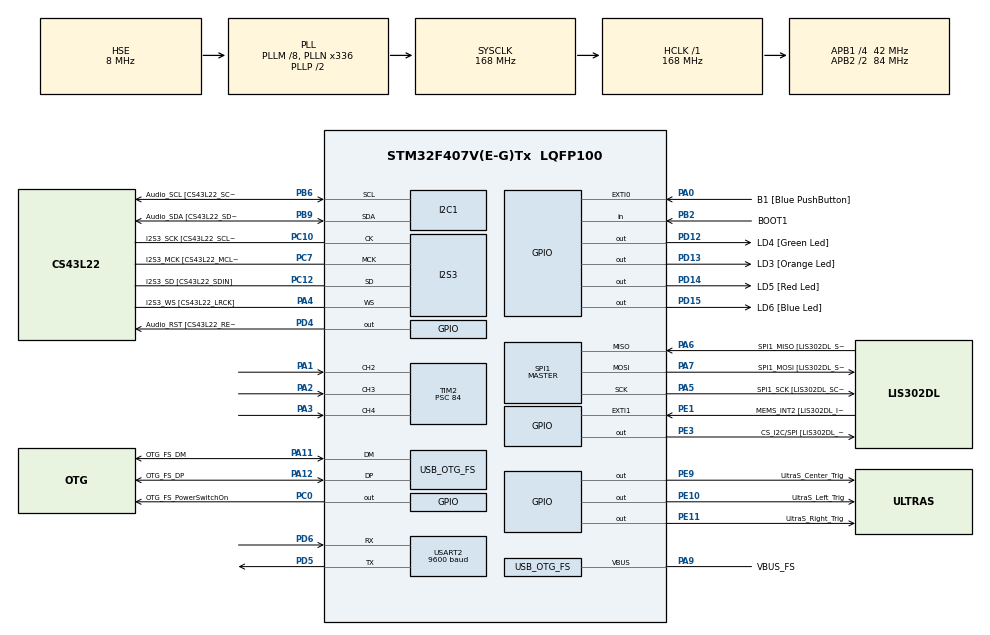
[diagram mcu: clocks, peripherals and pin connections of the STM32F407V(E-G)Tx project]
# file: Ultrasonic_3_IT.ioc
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I2S3.AudioFreq-Half_Duplex_Master=I2S_AUDIOFREQ_96K
I2S3.ErrorAudioFreq=-2.34 %
I2S3.ErrorAudioFreq-Half_Duplex_Master=0.8 %
I2S3.FullDuplexMode=I2S_FULLDUPLEXMODE_DISABLE
I2S3.Instance=SPI$Index
I2S3.RealAudioFreq=93.75 KHz
I2S3.RealAudioFreq-Half_Duplex_Master=96.774 KHz
I2S3.VirtualMode=I2S_MODE_MASTER
Mcu.Family=STM32F4
Mcu.Name=STM32F407V(E-G)Tx
Mcu.Package=LQFP100
NVIC.OTG_FS_IRQn=true\:0\:0\:false\:false\:true\:true\:true\:true
NVIC.PriorityGroup=NVIC_PRIORITYGROUP_0
NVIC.TIM2_IRQn=true\:0\:0\:false\:false\:true\:true\:true\:true
NVIC.USART2_IRQn=true\:0\:0\:false\:false\:true\:true\:true\:true
PA0-WKUP.GPIO_Label=B1 [Blue PushButton]
PA0-WKUP.GPIO_ModeDefaultEXTI=GPIO_MODE_EVT_RISING
PA0-WKUP.GPIO_PuPd=GPIO_NOPULL
PA0-WKUP.Signal=GPXTI0
PA1.Signal=S_TIM2_CH2
PA10.GPIO_Label=OTG_FS_ID
PA10.GPIO_Mode=GPIO_MODE_AF_PP
PA10.GPIO_PuPd=GPIO_NOPULL
PA10.GPIO_Speed=GPIO_SPEED_FREQ_LOW
PA10.Signal=USB_OTG_FS_ID
PA11.GPIO_Label=OTG_FS_DM
PA11.GPIO_Mode=GPIO_MODE_AF_PP
PA11.GPIO_PuPd=GPIO_NOPULL
PA11.GPIO_Speed=GPIO_SPEED_FREQ_LOW
PA11.Mode=Host_Only
PA11.Signal=USB_OTG_FS_DM
PA12.GPIO_Label=OTG_FS_DP
PA12.GPIO_Mode=GPIO_MODE_AF_PP
PA12.GPIO_PuPd=GPIO_NOPULL
PA12.GPIO_Speed=GPIO_SPEED_FREQ_LOW
PA12.Mode=Host_Only
PA12.Signal=USB_OTG_FS_DP
PA13.GPIO_Label=SWDIO
PA13.Mode=Serial_Wire
PA13.Signal=SYS_JTMS-SWDIO
PA14.GPIO_Label=SWCLK
PA14.Mode=Serial_Wire
PA14.Signal=SYS_JTCK-SWCLK
PA2.Signal=S_TIM2_CH3
PA3.Signal=S_TIM2_CH4
PA4.GPIO_Label=I2S3_WS [CS43L22_LRCK]
PA4.GPIO_Mode=GPIO_MODE_AF_PP
PA4.GPIO_PuPd=GPIO_NOPULL
PA4.GPIO_Speed=GPIO_SPEED_FREQ_LOW
PA4.Mode=Half_Duplex_Master
PA4.Signal=I2S3_WS
PA5.GPIO_Label=SPI1_SCK [LIS302DL_SCL/SPC]
PA5.GPIO_Mode=GPIO_MODE_AF_PP
PA5.GPIO_PuPd=GPIO_NOPULL
PA5.GPIO_Speed=GPIO_SPEED_FREQ_LOW
PA5.Mode=Full_Duplex_Master
PA5.Signal=SPI1_SCK
PA6.GPIO_Label=SPI1_MISO [LIS302DL_SDO]
PA6.GPIO_Mode=GPIO_MODE_AF_PP
PA6.GPIO_PuPd=GPIO_NOPULL
PA6.GPIO_Speed=GPIO_SPEED_FREQ_LOW
PA6.Mode=Full_Duplex_Master
PA6.Signal=SPI1_MISO
PA7.GPIO_Label=SPI1_MOSI [LIS302DL_SDA/SDI/SDO]
PA7.GPIO_Mode=GPIO_MODE_AF_PP
PA7.GPIO_PuPd=GPIO_NOPULL
PA7.GPIO_Speed=GPIO_SPEED_FREQ_LOW
PA7.Mode=Full_Duplex_Master
PA7.Signal=SPI1_MOSI
PA9.GPIO_Label=VBUS_FS
PA9.GPIO_Mode=GPIO_MODE_INPUT
PA9.GPIO_PuPd=GPIO_NOPULL
PA9.Mode=Activate_VBUS
PA9.Signal=USB_OTG_FS_VBUS
PB10.GPIO_Label=CLK_IN [MP45DT02_CLK]
PB10.GPIO_Mode=GPIO_MODE_AF_PP
PB10.GPIO_PuPd=GPIO_NOPULL
PB10.GPIO_Speed=GPIO_SPEED_FREQ_LOW
PB10.Signal=I2S2_CK
PB2.GPIO_Label=BOOT1
PB2.GPIO_Mode=GPIO_MODE_INPUT
PB2.GPIO_PuPd=GPIO_NOPULL
PB2.Signal=GPIO_Input
PB3.GPIO_Label=SWO
PB3.Signal=SYS_JTDO-SWO
PB6.GPIO_Label=Audio_SCL [CS43L22_SCL]
PB6.GPIO_Mode=GPIO_MODE_AF_OD
PB6.GPIO_Pu=GPIO_PULLUP
PB6.GPIO_PuPd=GPIO_NOPULL
PB6.GPIO_Speed=GPIO_SPEED_FREQ_LOW
PB6.Mode=I2C
PB6.Signal=I2C1_SCL
PB9.GPIO_Label=Audio_SDA [CS43L22_SDA]
PB9.GPIO_Mode=GPIO_MODE_AF_OD
PB9.GPIO_Pu=GPIO_PULLUP
PB9.GPIO_PuPd=GPIO_NOPULL
PB9.GPIO_Speed=GPIO_SPEED_FREQ_LOW
PB9.Mode=I2C
PB9.Signal=I2C1_SDA
PC0.GPIO_Label=OTG_FS_PowerSwitchOn
PC0.GPIO_PuPd=GPIO_NOPULL
PC0.GPIO_Speed=GPIO_SPEED_FREQ_LOW
PC0.PinState=GPIO_PIN_SET
PC0.Signal=GPIO_Output
PC10.GPIO_Label=I2S3_SCK [CS43L22_SCLK]
PC10.GPIO_Mode=GPIO_MODE_AF_PP
PC10.GPIO_PuPd=GPIO_NOPULL
PC10.GPIO_Speed=GPIO_SPEED_FREQ_LOW
PC10.Mode=Half_Duplex_Master
PC10.Signal=I2S3_CK
PC12.GPIO_Label=I2S3_SD [CS43L22_SDIN]
PC12.GPIO_Mode=GPIO_MODE_AF_PP
PC12.GPIO_PuPd=GPIO_NOPULL
PC12.GPIO_Speed=GPIO_SPEED_FREQ_LOW
PC12.Mode=Half_Duplex_Master
PC12.Signal=I2S3_SD
PC14-OSC32_IN.GPIO_Label=PC14-OSC32_IN
PC14-OSC32_IN.Mode=LSE-External-Oscillator
PC14-OSC32_IN.Signal=RCC_OSC32_IN
PC15-OSC32_OUT.GPIO_Label=PC15-OSC32_OUT
PC15-OSC32_OUT.Mode=LSE-External-Oscillator
PC15-OSC32_OUT.Signal=RCC_OSC32_OUT
PC3.GPIO_Label=PDM_OUT [MP45DT02_DOUT]
PC3.GPIO_Mode=GPIO_MODE_AF_PP
PC3.GPIO_PuPd=GPIO_NOPULL
PC3.GPIO_Speed=GPIO_SPEED_FREQ_LOW
PC3.Signal=I2S2_SD
PC7.GPIO_Label=I2S3_MCK [CS43L22_MCLK]
PC7.GPIO_Mode=GPIO_MODE_AF_PP
PC7.GPIO_PuPd=GPIO_NOPULL
PC7.GPIO_Speed=GPIO_SPEED_FREQ_LOW
PC7.Mode=Master_Clock_Activated
PC7.Signal=I2S3_MCK
PD12.GPIO_Label=LD4 [Green Led]
PD12.GPIO_PuPd=GPIO_NOPULL
PD12.GPIO_Speed=GPIO_SPEED_FREQ_LOW
PD12.Signal=GPIO_Output
PD13.GPIO_Label=LD3 [Orange Led]
PD13.GPIO_PuPd=GPIO_NOPULL
PD13.GPIO_Speed=GPIO_SPEED_FREQ_LOW
PD13.Signal=GPIO_Output
PD14.GPIO_Label=LD5 [Red Led]
PD14.GPIO_PuPd=GPIO_NOPULL
PD14.GPIO_Speed=GPIO_SPEED_FREQ_LOW
PD14.Signal=GPIO_Output
PD15.GPIO_Label=LD6 [Blue Led]
PD15.GPIO_PuPd=GPIO_NOPULL
PD15.GPIO_Speed=GPIO_SPEED_FREQ_LOW
PD15.Signal=GPIO_Output
PD4.GPIO_Label=Audio_RST [CS43L22_RESET]
PD4.GPIO_PuPd=GPIO_NOPULL
PD4.GPIO_Speed=GPIO_SPEED_FREQ_LOW
PD4.Signal=GPIO_Output
PD5.Mode=Asynchronous
PD5.Signal=USART2_TX
PD6.Mode=Asynchronous
PD6.Signal=USART2_RX
PE1.GPIO_Label=MEMS_INT2 [LIS302DL_INT2]
PE1.GPIO_ModeDefaultEXTI=GPIO_MODE_EVT_RISING
PE1.GPIO_PuPd=GPIO_NOPULL
PE1.Signal=GPXTI1
PE10.GPIO_Label=UltraS_Left_Trig
PE10.Signal=GPIO_Output
PE11.GPIO_Label=UltraS_Right_Trig
PE11.Signal=GPIO_Output
PE3.GPIO_Label=CS_I2C/SPI [LIS302DL_CS_I2C/SPI]
PE3.GPIO_PuPd=GPIO_NOPULL
PE3.GPIO_Speed=GPIO_SPEED_FREQ_LOW
PE3.Signal=GPIO_Output
PE9.GPIO_Label=UltraS_Center_Trig
PE9.Signal=GPIO_Output
PH0-OSC_IN.GPIO_Label=PH0-OSC_IN
PH0-OSC_IN.Mode=HSE-External-Oscillator
PH0-OSC_IN.Signal=RCC_OSC_IN
PH1-OSC_OUT.GPIO_Label=PH1-OSC_OUT
PH1-OSC_OUT.Mode=HSE-External-Oscillator
PH1-OSC_OUT.Signal=RCC_OSC_OUT
ProjectManager.HeapSize=0x200
ProjectManager.StackSize=0x400
ProjectManager.TargetToolchain=CMake
RCC.48MHZClocksFreq_Value=48000000
RCC.AHBFreq_Value=168000000
RCC.APB1CLKDivider=RCC_HCLK_DIV4
RCC.APB1Freq_Value=42000000
RCC.APB1TimFreq_Value=84000000
RCC.APB2CLKDivider=RCC_HCLK_DIV2
RCC.APB2Freq_Value=84000000
RCC.APB2TimFreq_Value=168000000
RCC.CortexFreq_Value=168000000
RCC.HCLKFreq_Value=168000000
RCC.HSE_VALUE=8000000
RCC.HSI_VALUE=16000000
RCC.PLLM=8
RCC.PLLN=336
RCC.PLLQ=7
RCC.SYSCLKFreq_VALUE=168000000
RCC.SYSCLKSource=RCC_SYSCLKSOURCE_PLLCLK
RCC.VCOOutputFreq_Value=336000000
SH.S_TIM2_CH2.0=TIM2_CH2,Input_Capture2_from_TI2
SH.S_TIM2_CH3.0=TIM2_CH3,Input_Capture3_from_TI3
SH.S_TIM2_CH4.0=TIM2_CH4,Input_Capture4_from_TI4
SPI1.BaudRatePrescaler-Full_Duplex_Master=SPI_BAUDRATEPRESCALER_2
SPI1.CalculateBaudRate-Full_Duplex_Master=42.0 MBits/s
SPI1.Direction=SPI_DIRECTION_2LINES
SPI1.Mode=SPI_MODE_MASTER
SPI1.Mode-Full_Duplex_Master=SPI_MODE_MASTER
SPI1.VirtualType=VM_MASTER
TIM2.Channel-Input_Capture2_from_TI2=TIM_CHANNEL_2
TIM2.Channel-Input_Capture3_from_TI3=TIM_CHANNEL_3
TIM2.Channel-Input_Capture4_from_TI4=TIM_CHANNEL_4
TIM2.Prescaler=84
USART2.BaudRate=9600
USART2.VirtualMode=VM_ASYNC
USB_HOST.BSP.number=1
USB_HOST.USBH_HandleTypeDef-CDC_FS=hUsbHostFS
USB_HOST.VirtualModeFS=Cdc
USB_HOST0.BSP.STBoard=false
USB_HOST0.BSP.api=Unknown
USB_HOST0.BSP.instance=PC0
USB_HOST0.BSP.ip=GPIO
USB_HOST0.BSP.mode=Output
USB_HOST0.BSP.name=Drive_VBUS_FS
USB_HOST0.BSP.solution=PC0
USB_OTG_FS.VirtualMode=Host_Only
USB_OTG_FS.phy_itface=HCD_PHY_EMBEDDED
VP_TIM2_VS_ClockSourceINT.Mode=Internal
VP_USB_HOST_VS_USB_HOST_CDC_FS.Mode=CDC_FS
board=STM32F407G-DISC1

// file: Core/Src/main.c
/* USER CODE BEGIN Header */
/**
  ******************************************************************************
  * @file           : main.c
  * @brief          : Main program body
  ******************************************************************************
  * @attention
  *
  * Copyright (c) 2026 STMicroelectronics.
  * All rights reserved.
  *
  * This software is licensed under terms that can be found in the LICENSE file
  * in the root directory of this software component.
  * If no LICENSE file comes with this software, it is provided AS-IS.
  *
  ******************************************************************************
  */
/* USER CODE END Header */
#include "main.h"
#include "usb_host.h"

/* USER CODE BEGIN Includes */
#include "../Inc/HCSR04.h"
/* USER CODE END Includes */

I2C_HandleTypeDef hi2c1;

I2S_HandleTypeDef hi2s3;

SPI_HandleTypeDef hspi1;

TIM_HandleTypeDef htim2;

UART_HandleTypeDef huart2;

/* USER CODE BEGIN PV */
uint8_t rxData;
uint8_t stopSignal;

// typedef enum ultrasonic_sensor_direction {
//   CENTER = 0,
//   LEFT = 1,
//   RIGHT = 2
// }ultrasonicDir_t;
//
// typedef struct {
//   uint32_t IC_Val1;
//   uint32_t IC_Val2;
//   uint32_t Difference; // (cm)
//   uint8_t Is_First_Captured;
//   float Distance; // (cm)
// } HCSR04_t;
//
// HCSR04_t sensors[3];
/* USER CODE END PV */

void SystemClock_Config(void);
static void MX_GPIO_Init(void);
static void MX_I2C1_Init(void);
static void MX_I2S3_Init(void);
static void MX_SPI1_Init(void);
static void MX_TIM2_Init(void);
static void MX_USART2_UART_Init(void);
void MX_USB_HOST_Process(void);

/* USER CODE BEGIN 0 */
void HAL_TIM_IC_CaptureCallback(TIM_HandleTypeDef *htim)
{
  HCSR04_ProcessEcho(htim);
}
/* USER CODE END 0 */

int main(void)
{

  /* MCU Configuration--------------------------------------------------------*/

  /* Reset of all peripherals, Initializes the Flash interface and the Systick. */
  HAL_Init();

  /* Configure the system clock */
  SystemClock_Config();

  /* Initialize all configured peripherals */
  MX_GPIO_Init();
  MX_I2C1_Init();
  MX_I2S3_Init();
  MX_SPI1_Init();
  MX_TIM2_Init();
  MX_USB_HOST_Init();
  MX_USART2_UART_Init();
  /* USER CODE BEGIN 2 */
  HAL_UART_Receive_IT(&huart2,&rxData,1); // Enabling interrupt receive

  HAL_TIM_IC_Start_IT(&htim2, TIM_CHANNEL_2);
  HAL_TIM_IC_Start_IT(&htim2, TIM_CHANNEL_3);
  HAL_TIM_IC_Start_IT(&htim2, TIM_CHANNEL_4);
  DWT_Init();
  /* USER CODE END 2 */

  /* Infinite loop */
  /* USER CODE BEGIN WHILE */
  ultrasonicDir_t currDir;
  while (1)
  {
    Ultrasonic_Update();

    if (!stopSignal)
    {
      HAL_GPIO_WritePin(LD6_GPIO_Port, LD6_Pin, GPIO_PIN_RESET);

      if (HCSR04_GetDistance(CENTER) < 10)
        HAL_GPIO_WritePin(LD4_GPIO_Port, LD4_Pin, GPIO_PIN_SET);
      else
        HAL_GPIO_WritePin(LD4_GPIO_Port, LD4_Pin, GPIO_PIN_RESET);

      if (HCSR04_GetDistance(LEFT) < 10)
        HAL_GPIO_WritePin(LD3_GPIO_Port, LD3_Pin, GPIO_PIN_SET);
      else
        HAL_GPIO_WritePin(LD3_GPIO_Port, LD3_Pin, GPIO_PIN_RESET);

      if (HCSR04_GetDistance(RIGHT) < 10)
        HAL_GPIO_WritePin(LD5_GPIO_Port, LD5_Pin, GPIO_PIN_SET);
      else
        HAL_GPIO_WritePin(LD5_GPIO_Port, LD5_Pin, GPIO_PIN_RESET);
    }
    else
    {
      HAL_GPIO_WritePin(LD6_GPIO_Port, LD6_Pin, GPIO_PIN_SET);
    }
    /* USER CODE END WHILE */
    MX_USB_HOST_Process();

  }
}

void SystemClock_Config(void)
{
  RCC_OscInitTypeDef RCC_OscInitStruct = {0};
  RCC_ClkInitTypeDef RCC_ClkInitStruct = {0};

  /** Configure the main internal regulator output voltage
  */
  __HAL_RCC_PWR_CLK_ENABLE();
  __HAL_PWR_VOLTAGESCALING_CONFIG(PWR_REGULATOR_VOLTAGE_SCALE1);

  /** Initializes the RCC Oscillators according to the specified parameters
  * in the RCC_OscInitTypeDef structure.
  */
  RCC_OscInitStruct.OscillatorType = RCC_OSCILLATORTYPE_HSE;
  RCC_OscInitStruct.HSEState = RCC_HSE_ON;
  RCC_OscInitStruct.PLL.PLLState = RCC_PLL_ON;
  RCC_OscInitStruct.PLL.PLLSource = RCC_PLLSOURCE_HSE;
  RCC_OscInitStruct.PLL.PLLM = 8;
  RCC_OscInitStruct.PLL.PLLN = 336;
  RCC_OscInitStruct.PLL.PLLP = RCC_PLLP_DIV2;
  RCC_OscInitStruct.PLL.PLLQ = 7;
  if (HAL_RCC_OscConfig(&RCC_OscInitStruct) != HAL_OK)
  {
    Error_Handler();
  }

  /** Initializes the CPU, AHB and APB buses clocks
  */
  RCC_ClkInitStruct.ClockType = RCC_CLOCKTYPE_HCLK|RCC_CLOCKTYPE_SYSCLK
                              |RCC_CLOCKTYPE_PCLK1|RCC_CLOCKTYPE_PCLK2;
  RCC_ClkInitStruct.SYSCLKSource = RCC_SYSCLKSOURCE_PLLCLK;
  RCC_ClkInitStruct.AHBCLKDivider = RCC_SYSCLK_DIV1;
  RCC_ClkInitStruct.APB1CLKDivider = RCC_HCLK_DIV4;
  RCC_ClkInitStruct.APB2CLKDivider = RCC_HCLK_DIV2;

  if (HAL_RCC_ClockConfig(&RCC_ClkInitStruct, FLASH_LATENCY_5) != HAL_OK)
  {
    Error_Handler();
  }
}

static void MX_I2C1_Init(void)
{

  hi2c1.Instance = I2C1;
  hi2c1.Init.ClockSpeed = 100000;
  hi2c1.Init.DutyCycle = I2C_DUTYCYCLE_2;
  hi2c1.Init.OwnAddress1 = 0;
  hi2c1.Init.AddressingMode = I2C_ADDRESSINGMODE_7BIT;
  hi2c1.Init.DualAddressMode = I2C_DUALADDRESS_DISABLE;
  hi2c1.Init.OwnAddress2 = 0;
  hi2c1.Init.GeneralCallMode = I2C_GENERALCALL_DISABLE;
  hi2c1.Init.NoStretchMode = I2C_NOSTRETCH_DISABLE;
  if (HAL_I2C_Init(&hi2c1) != HAL_OK)
  {
    Error_Handler();
  }

}

static void MX_I2S3_Init(void)
{

  hi2s3.Instance = SPI3;
  hi2s3.Init.Mode = I2S_MODE_MASTER_TX;
  hi2s3.Init.Standard = I2S_STANDARD_PHILIPS;
  hi2s3.Init.DataFormat = I2S_DATAFORMAT_16B;
  hi2s3.Init.MCLKOutput = I2S_MCLKOUTPUT_ENABLE;
  hi2s3.Init.AudioFreq = I2S_AUDIOFREQ_96K;
  hi2s3.Init.CPOL = I2S_CPOL_LOW;
  hi2s3.Init.ClockSource = I2S_CLOCK_PLL;
  hi2s3.Init.FullDuplexMode = I2S_FULLDUPLEXMODE_DISABLE;
  if (HAL_I2S_Init(&hi2s3) != HAL_OK)
  {
    Error_Handler();
  }

}

static void MX_SPI1_Init(void)
{

  /* SPI1 parameter configuration*/
  hspi1.Instance = SPI1;
  hspi1.Init.Mode = SPI_MODE_MASTER;
  hspi1.Init.Direction = SPI_DIRECTION_2LINES;
  hspi1.Init.DataSize = SPI_DATASIZE_8BIT;
  hspi1.Init.CLKPolarity = SPI_POLARITY_LOW;
  hspi1.Init.CLKPhase = SPI_PHASE_1EDGE;
  hspi1.Init.NSS = SPI_NSS_SOFT;
  hspi1.Init.BaudRatePrescaler = SPI_BAUDRATEPRESCALER_2;
  hspi1.Init.FirstBit = SPI_FIRSTBIT_MSB;
  hspi1.Init.TIMode = SPI_TIMODE_DISABLE;
  hspi1.Init.CRCCalculation = SPI_CRCCALCULATION_DISABLE;
  hspi1.Init.CRCPolynomial = 10;
  if (HAL_SPI_Init(&hspi1) != HAL_OK)
  {
    Error_Handler();
  }

}

static void MX_TIM2_Init(void)
{

  TIM_ClockConfigTypeDef sClockSourceConfig = {0};
  TIM_MasterConfigTypeDef sMasterConfig = {0};
  TIM_IC_InitTypeDef sConfigIC = {0};

  htim2.Instance = TIM2;
  htim2.Init.Prescaler = 84;
  htim2.Init.CounterMode = TIM_COUNTERMODE_UP;
  htim2.Init.Period = 4294967295;
  htim2.Init.ClockDivision = TIM_CLOCKDIVISION_DIV1;
  htim2.Init.AutoReloadPreload = TIM_AUTORELOAD_PRELOAD_DISABLE;
  if (HAL_TIM_Base_Init(&htim2) != HAL_OK)
  {
    Error_Handler();
  }
  sClockSourceConfig.ClockSource = TIM_CLOCKSOURCE_INTERNAL;
  if (HAL_TIM_ConfigClockSource(&htim2, &sClockSourceConfig) != HAL_OK)
  {
    Error_Handler();
  }
  if (HAL_TIM_IC_Init(&htim2) != HAL_OK)
  {
    Error_Handler();
  }
  sMasterConfig.MasterOutputTrigger = TIM_TRGO_RESET;
  sMasterConfig.MasterSlaveMode = TIM_MASTERSLAVEMODE_DISABLE;
  if (HAL_TIMEx_MasterConfigSynchronization(&htim2, &sMasterConfig) != HAL_OK)
  {
    Error_Handler();
  }
  sConfigIC.ICPolarity = TIM_INPUTCHANNELPOLARITY_RISING;
  sConfigIC.ICSelection = TIM_ICSELECTION_DIRECTTI;
  sConfigIC.ICPrescaler = TIM_ICPSC_DIV1;
  sConfigIC.ICFilter = 0;
  if (HAL_TIM_IC_ConfigChannel(&htim2, &sConfigIC, TIM_CHANNEL_2) != HAL_OK)
  {
    Error_Handler();
  }
  if (HAL_TIM_IC_ConfigChannel(&htim2, &sConfigIC, TIM_CHANNEL_3) != HAL_OK)
  {
    Error_Handler();
  }
  if (HAL_TIM_IC_ConfigChannel(&htim2, &sConfigIC, TIM_CHANNEL_4) != HAL_OK)
  {
    Error_Handler();
  }

}

static void MX_USART2_UART_Init(void)
{

  huart2.Instance = USART2;
  huart2.Init.BaudRate = 9600;
  huart2.Init.WordLength = UART_WORDLENGTH_8B;
  huart2.Init.StopBits = UART_STOPBITS_1;
  huart2.Init.Parity = UART_PARITY_NONE;
  huart2.Init.Mode = UART_MODE_TX_RX;
  huart2.Init.HwFlowCtl = UART_HWCONTROL_NONE;
  huart2.Init.OverSampling = UART_OVERSAMPLING_16;
  if (HAL_UART_Init(&huart2) != HAL_OK)
  {
    Error_Handler();
  }

}

static void MX_GPIO_Init(void)
{
  GPIO_InitTypeDef GPIO_InitStruct = {0};

  /* GPIO Ports Clock Enable */
  __HAL_RCC_GPIOE_CLK_ENABLE();
  __HAL_RCC_GPIOC_CLK_ENABLE();
  __HAL_RCC_GPIOH_CLK_ENABLE();
  __HAL_RCC_GPIOA_CLK_ENABLE();
  __HAL_RCC_GPIOB_CLK_ENABLE();
  __HAL_RCC_GPIOD_CLK_ENABLE();

  /*Configure GPIO pin Output Level */
  HAL_GPIO_WritePin(GPIOE, CS_I2C_SPI_Pin|UltraS_Center_Trig_Pin|UltraS_Left_Trig_Pin|UltraS_Right_Trig_Pin, GPIO_PIN_RESET);

  /*Configure GPIO pin Output Level */
  HAL_GPIO_WritePin(OTG_FS_PowerSwitchOn_GPIO_Port, OTG_FS_PowerSwitchOn_Pin, GPIO_PIN_SET);

  /*Configure GPIO pin Output Level */
  HAL_GPIO_WritePin(GPIOD, LD4_Pin|LD3_Pin|LD5_Pin|LD6_Pin
                          |Audio_RST_Pin, GPIO_PIN_RESET);

  /*Configure GPIO pins : CS_I2C_SPI_Pin UltraS_Center_Trig_Pin UltraS_Left_Trig_Pin UltraS_Right_Trig_Pin */
  GPIO_InitStruct.Pin = CS_I2C_SPI_Pin|UltraS_Center_Trig_Pin|UltraS_Left_Trig_Pin|UltraS_Right_Trig_Pin;
  GPIO_InitStruct.Mode = GPIO_MODE_OUTPUT_PP;
  GPIO_InitStruct.Pull = GPIO_NOPULL;
  GPIO_InitStruct.Speed = GPIO_SPEED_FREQ_LOW;
  HAL_GPIO_Init(GPIOE, &GPIO_InitStruct);

  /*Configure GPIO pin : OTG_FS_PowerSwitchOn_Pin */
  GPIO_InitStruct.Pin = OTG_FS_PowerSwitchOn_Pin;
  GPIO_InitStruct.Mode = GPIO_MODE_OUTPUT_PP;
  GPIO_InitStruct.Pull = GPIO_NOPULL;
  GPIO_InitStruct.Speed = GPIO_SPEED_FREQ_LOW;
  HAL_GPIO_Init(OTG_FS_PowerSwitchOn_GPIO_Port, &GPIO_InitStruct);

  /*Configure GPIO pin : PDM_OUT_Pin */
  GPIO_InitStruct.Pin = PDM_OUT_Pin;
  GPIO_InitStruct.Mode = GPIO_MODE_AF_PP;
  GPIO_InitStruct.Pull = GPIO_NOPULL;
  GPIO_InitStruct.Speed = GPIO_SPEED_FREQ_LOW;
  GPIO_InitStruct.Alternate = GPIO_AF5_SPI2;
  HAL_GPIO_Init(PDM_OUT_GPIO_Port, &GPIO_InitStruct);

  /*Configure GPIO pin : B1_Pin */
  GPIO_InitStruct.Pin = B1_Pin;
  GPIO_InitStruct.Mode = GPIO_MODE_EVT_RISING;
  GPIO_InitStruct.Pull = GPIO_NOPULL;
  HAL_GPIO_Init(B1_GPIO_Port, &GPIO_InitStruct);

  /*Configure GPIO pin : BOOT1_Pin */
  GPIO_InitStruct.Pin = BOOT1_Pin;
  GPIO_InitStruct.Mode = GPIO_MODE_INPUT;
  GPIO_InitStruct.Pull = GPIO_NOPULL;
  HAL_GPIO_Init(BOOT1_GPIO_Port, &GPIO_InitStruct);

  /*Configure GPIO pin : CLK_IN_Pin */
  GPIO_InitStruct.Pin = CLK_IN_Pin;
  GPIO_InitStruct.Mode = GPIO_MODE_AF_PP;
  GPIO_InitStruct.Pull = GPIO_NOPULL;
  GPIO_InitStruct.Speed = GPIO_SPEED_FREQ_LOW;
  GPIO_InitStruct.Alternate = GPIO_AF5_SPI2;
  HAL_GPIO_Init(CLK_IN_GPIO_Port, &GPIO_InitStruct);

  /*Configure GPIO pins : LD4_Pin LD3_Pin LD5_Pin LD6_Pin
                           Audio_RST_Pin */
  GPIO_InitStruct.Pin = LD4_Pin|LD3_Pin|LD5_Pin|LD6_Pin
                          |Audio_RST_Pin;
  GPIO_InitStruct.Mode = GPIO_MODE_OUTPUT_PP;
  GPIO_InitStruct.Pull = GPIO_NOPULL;
  GPIO_InitStruct.Speed = GPIO_SPEED_FREQ_LOW;
  HAL_GPIO_Init(GPIOD, &GPIO_InitStruct);

  /*Configure GPIO pin : MEMS_INT2_Pin */
  GPIO_InitStruct.Pin = MEMS_INT2_Pin;
  GPIO_InitStruct.Mode = GPIO_MODE_EVT_RISING;
  GPIO_InitStruct.Pull = GPIO_NOPULL;
  HAL_GPIO_Init(MEMS_INT2_GPIO_Port, &GPIO_InitStruct);

}

/* USER CODE BEGIN 4 */
void HAL_UART_RxCpltCallback(UART_HandleTypeDef *huart)
{
  if(huart->Instance==USART2)
  {
    if(rxData==78) // Ascii value of 'N' is 78 (N for NO)
    {
      stopSignal = 1;
    }
    else if (rxData==89) // Ascii value of 'Y' is 89 (Y for YES)
    {
      stopSignal = 0;
    }
    HAL_UART_Receive_IT(&huart2,&rxData,1); // Enabling interrupt receive again
  }
}
/* USER CODE END 4 */

void Error_Handler(void)
{
  __disable_irq();
  while (1)
  {
  }
}
